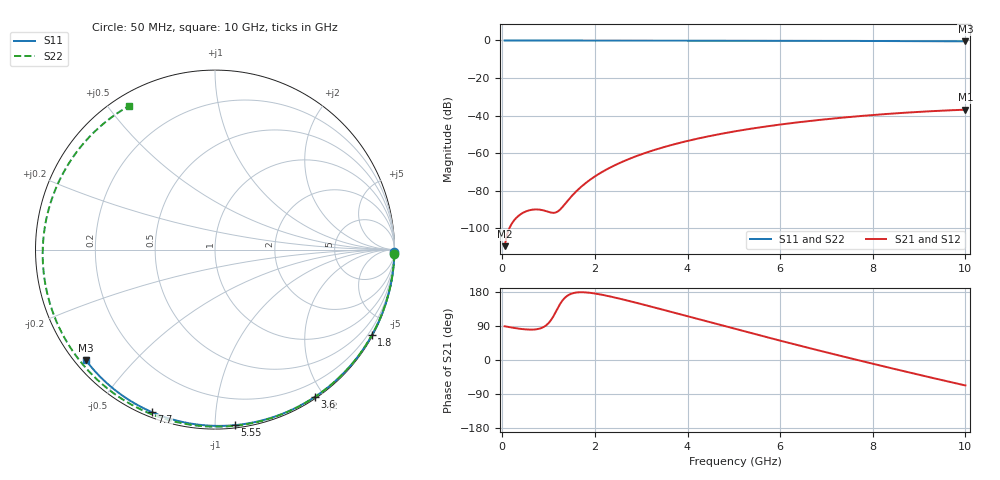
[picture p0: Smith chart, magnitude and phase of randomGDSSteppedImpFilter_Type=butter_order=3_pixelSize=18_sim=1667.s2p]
! freq	dB(S11)	phase(S11)	dB(S12)	phase(S12)
!  dB(S21)	phase(S21)	dB(S22)	phase(S22)
!S-par simulation data
#  GHz  S  DB  R 50
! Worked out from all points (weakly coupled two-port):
!   200 points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, 50 MHz to 10 GHz, reference 50 ohm
!   highest |S21| = -36.87 dB at 10 GHz (marker M1); lowest = -109.5 dB at 50 MHz (marker M2)
!   lowest |S11| = -0.5 dB at 10 GHz (marker M3), VSWR 36.81, Z = 1.54 - j18.4 ohm
!   |S11| at or under -10 dB: nowhere
!   |S22| runs from -0.6 to 0.0 dB; largest |S21 - S12| = 0
!   S11 on the Smith chart (normalised r, x): 50 MHz: open; 1.8 GHz: 0.03, -3.91; 3.6 GHz: 0.02, -1.88; 5.55 GHz: 0.02, -1.12; 7.7 GHz: 0.02, -0.68; 10 GHz: 0.03, -0.37
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0.05  -0.00 -0.8  -109.53 89.0  -109.53 89.0  -0.00 -1.5
0.4  -0.01 -6.5  -92.46 82.1  -92.46 82.1  -0.02 -11.5
0.8  -0.02 -12.9  -90.07 82.6  -90.07 82.6  -0.03 -22.9
1.2  -0.02 -19.2  -91.03 137.5  -91.03 137.5  -0.04 -34.1
1.6  -0.03 -25.5  -80.27 178.1  -80.27 178.1  -0.06 -45.1
1.75  -0.04 -27.9  -76.93 178.8  -76.93 178.8  -0.06 -49.2
1.8  -0.04 -28.7  -75.93 178.4  -75.93 178.4  -0.06 -50.5
2.1  -0.04 -33.3  -70.84 173.4  -70.84 173.4  -0.07 -58.5
2.5  -0.05 -39.5  -65.63 162.9  -65.63 162.9  -0.09 -68.9
2.9  -0.06 -45.6  -61.54 150.8  -61.54 150.8  -0.10 -79.0
3.4  -0.07 -53.0  -57.44 134.9  -57.44 134.9  -0.12 -91.2
3.6  -0.08 -56.0  -56.02 128.4  -56.02 128.4  -0.12 -95.9
4.3  -0.09 -66.1  -51.82 105.7  -51.82 105.7  -0.15 -112.1
5.05  -0.12 -76.6  -48.28 81.3  -48.28 81.3  -0.19 -128.7
5.55  -0.14 -83.5  -46.32 65.3  -46.32 65.3  -0.22 -139.5
6.15  -0.16 -91.5  -44.30 46.4  -44.30 46.4  -0.25 -152.3
6.7  -0.19 -98.6  -42.71 29.3  -42.71 29.3  -0.29 -163.9
7.2  -0.22 -105.1  -41.43 14.0  -41.43 14.0  -0.33 -174.5
7.7  -0.26 -111.4  -40.31 -1.0  -40.31 -1.0  -0.38 174.7
8.35  -0.31 -119.4  -39.06 -20.2  -39.06 -20.2  -0.44 160.3
9.15  -0.38 -129.2  -37.81 -43.3  -37.81 -43.3  -0.52 141.8
10  -0.47 -139.6  -36.87 -67.2  -36.87 -67.2  -0.61 120.7
